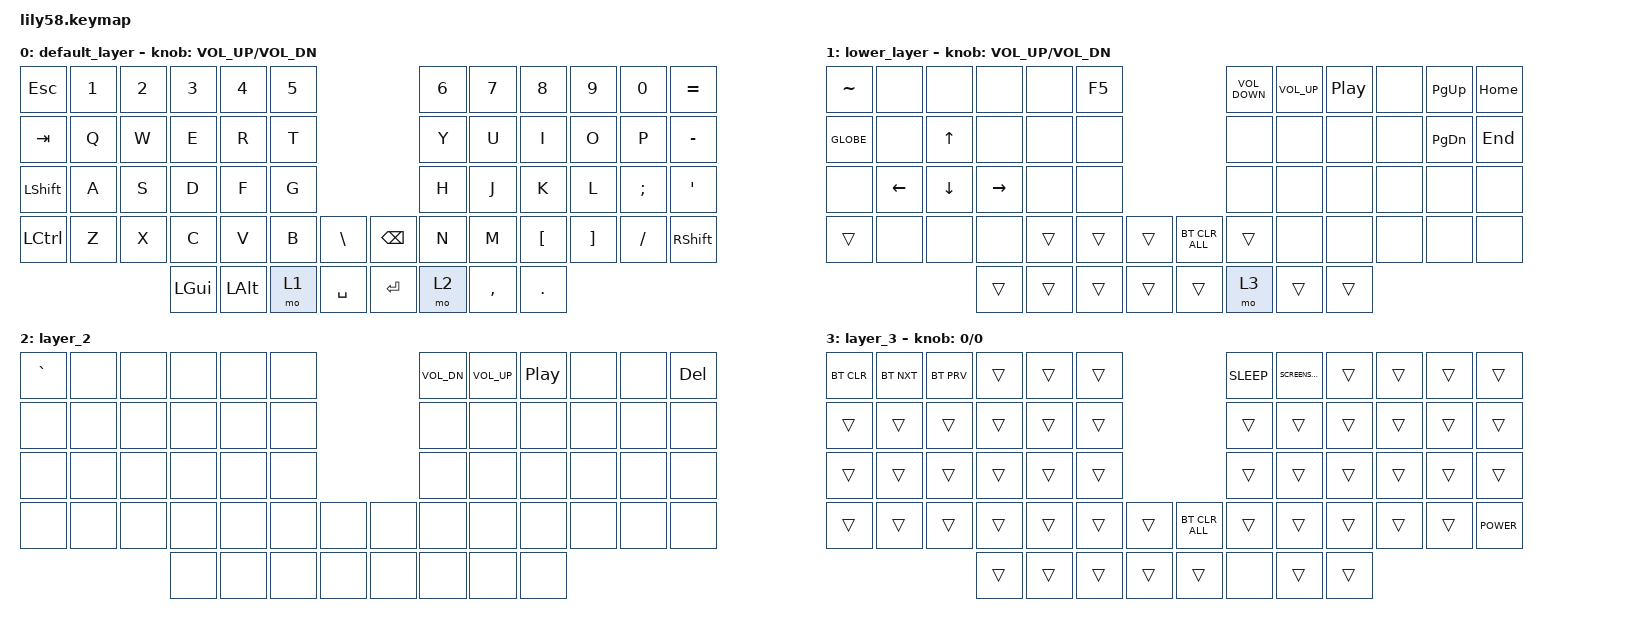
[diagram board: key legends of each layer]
/*
 * Copyright (c) 2020 The ZMK Contributors
 *
 * SPDX-License-Identifier: MIT
 */

#include <behaviors.dtsi>
#include <dt-bindings/zmk/bt.h>
#include <dt-bindings/zmk/keys.h>

/ {
    keymap {
        compatible = "zmk,keymap";

        default_layer {
            // ------------------------------------------------------------------------------------------------------------
            // |  ESC  |  1  |  2  |  3   |  4   |  5   |                   |  6   |  7    |  8    |  9   |   0   |   =   |
            // |  TAB  |  Q  |  W  |  E   |  R   |  T   |                   |  Y   |  U    |  I    |  O   |   P   |   -   |
            // |  SHIFT |  A  |  S  |  D   |  F   |  G   |                   |  H   |  J   |  K    |  L   |   ;   |   '   |
            // |  CTRL |  Z  |  X  |  C   |  V   |  B   |  \     |  |  BSPC  |  N   |  M   |  "["  |  "]" |   /   | SHIFT |
            //                     | GUI  | ALT  | LOWER|  SPACE |  | ENTER  | RAISE| ,    | .     |

            bindings = <
&kp ESC    &kp N1  &kp N2  &kp N3    &kp N4    &kp N5                         &kp N6  &kp N7     &kp N8    &kp N9    &kp N0    &kp EQUAL
&kp TAB    &kp Q   &kp W   &kp E     &kp R     &kp T                          &kp Y   &kp U      &kp I     &kp O     &kp P     &kp MINUS
&kp LSHFT  &kp A   &kp S   &kp D     &kp F     &kp G                          &kp H   &kp J      &kp K     &kp L     &kp SEMI  &kp SQT
&kp LCTRL  &kp Z   &kp X   &kp C     &kp V     &kp B   &kp BSLH     &kp BSPC  &kp N   &kp M      &kp LBKT  &kp RBKT  &kp FSLH  &kp RSHFT
                           &kp LGUI  &kp LALT  &mo 1   &kp SPACE    &kp RET   &mo 2   &kp COMMA  &kp DOT
            >;

            sensor-bindings = <&inc_dec_kp C_VOL_UP C_VOL_DN>;
        };

        lower_layer {
            // ------------------------------------------------------------------------------------------------------------
            // | BTCLR | BT1 | BT2 |  BT3 |  BT4 |  BT5 |                   |      |       |       |      |       |       |
            // |  F1   |  F2 |  F3 |  F4  |  F5  |  F6  |                   |  F7  |  F8   |  F9   |  F10 |  F11  |  F12  |
            // |   `   |  !  |  @  |  #   |  $   |  %   |                   |  ^   |  &    |  *    |  (   |   )   |   ~   |
            // |       |     |     |      |      |      |        |  |       |      |  _    |  +    |  {   |   }   |  "|"  |
            //                     |      |      |      |        |  |       |      |       |       |

            bindings = <
&kp TILDE  &none     &none     &none      &none   &kp F5                            &kp C_VOLUME_DOWN  &kp C_VOL_UP  &kp C_PLAY_PAUSE  &none  &kp PAGE_UP    &kp HOME
&kp GLOBE  &none     &kp UP    &none      &none   &none                             &none              &none         &none             &none  &kp PAGE_DOWN  &kp END
&none      &kp LEFT  &kp DOWN  &kp RIGHT  &none   &none                             &none              &none         &none             &none  &none          &none
&trans     &none     &none     &none      &trans  &trans  &trans    &bt BT_CLR_ALL  &trans             &none         &none             &none  &none          &none
                               &trans     &trans  &trans  &trans    &trans          &mo 3              &trans        &trans
            >;

            sensor-bindings = <&inc_dec_kp C_VOL_UP C_VOL_DN>;
        };

        layer_2 {
            bindings = <
&kp GRAVE  &none  &none  &none  &none  &none                  &kp C_VOL_DN  &kp C_VOL_UP  &kp C_PLAY_PAUSE  &none  &none  &kp DELETE
&none      &none  &none  &none  &none  &none                  &none         &none         &none             &none  &none  &none
&none      &none  &none  &none  &none  &none                  &none         &none         &none             &none  &none  &none
&none      &none  &none  &none  &none  &none  &none    &none  &none         &none         &none             &none  &none  &none
                         &none  &none  &none  &none    &none  &none         &none         &none
            >;
        };

        layer_3 {
            bindings = <
&bt BT_CLR  &bt BT_NXT  &bt BT_PRV  &trans  &trans  &trans                            &kp C_SLEEP  &kp K_SCREENSAVER  &trans  &trans  &trans  &trans
&trans      &trans      &trans      &trans  &trans  &trans                            &trans       &trans             &trans  &trans  &trans  &trans
&trans      &trans      &trans      &trans  &trans  &trans                            &trans       &trans             &trans  &trans  &trans  &trans
&trans      &trans      &trans      &trans  &trans  &trans  &trans    &bt BT_CLR_ALL  &trans       &trans             &trans  &trans  &trans  &kp C_POWER
                                    &trans  &trans  &trans  &trans    &trans          &none        &trans             &trans
            >;

            sensor-bindings = <&inc_dec_kp 0 0>;
        };
    };
};
